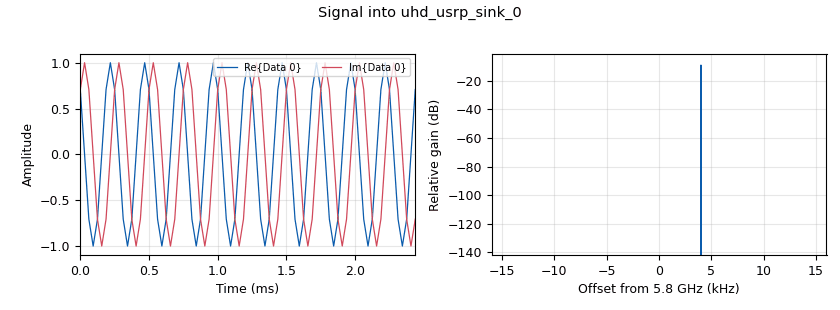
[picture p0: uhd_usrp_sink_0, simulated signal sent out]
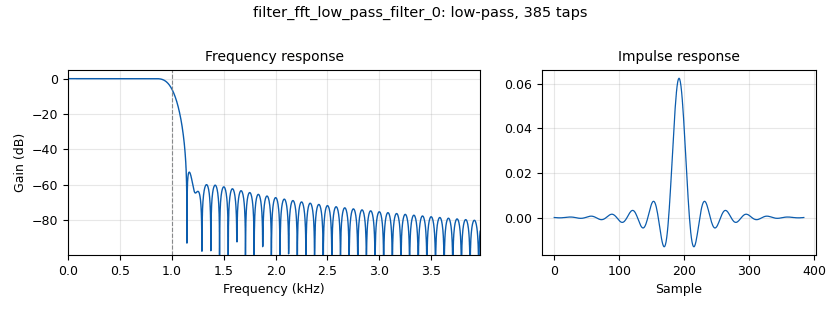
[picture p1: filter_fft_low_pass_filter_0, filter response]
options:
  parameters:
    author: '12034'
    generate_options: qt_gui
    id: CW_LF_IQ
    output_language: python
    title: Not titled yet
  states: {}

blocks:
- name: samp_rate
  id: variable
  parameters:
    value: '32000'
  states: {}
- name: samp_rate_0
  id: variable
  parameters:
    value: '44100'
  states: {}
- name: analog_sig_source_x_0
  id: analog_sig_source_x
  parameters:
    amp: '1'
    freq: '4000'
    offset: '0'
    phase: '0'
    samp_rate: samp_rate
    type: complex
    waveform: analog.GR_COS_WAVE
  states: {}
- name: blocks_complex_to_float_0
  id: blocks_complex_to_float
  parameters: {}
  states: {}
- name: blocks_multiply_conjugate_cc_0
  id: blocks_multiply_conjugate_cc
  parameters: {}
  states: {}
- name: blocks_wavfile_sink_0
  id: blocks_wavfile_sink
  parameters:
    bits_per_sample1: FORMAT_PCM_16
    file: C:\ek2370\CW_IF.wav
    format: FORMAT_WAV
    samp_rate: '44100'
  states: {}
- name: blocks_wavfile_sink_1
  id: blocks_wavfile_sink
  parameters:
    bits_per_sample1: FORMAT_PCM_16
    file: C:\ek2370\CW_IF.wav
    format: FORMAT_WAV
    samp_rate: '44100'
  states: {}
- name: dc_blocker_xx_0
  id: dc_blocker_xx
  parameters:
    length: '32'
    long_form: 'True'
    type: cc
  states: {}
- name: filter_fft_low_pass_filter_0
  id: filter_fft_low_pass_filter
  parameters:
    cutoff_freq: '1000'
    decim: '1'
    gain: '1'
    samp_rate: samp_rate
    type: ccc
    width: '200'
    win: window.WIN_HAMMING
  states: {}
- name: qtgui_sink_x_0_0
  id: qtgui_sink_x
  parameters:
    bw: samp_rate
    fc: '0'
    fftsize: '1024'
    showrf: 'True'
    type: complex
  states: {}
- name: qtgui_waterfall_sink_x_0
  id: qtgui_waterfall_sink_x
  parameters:
    bw: samp_rate
    fc: '0'
    fftsize: '1024'
    type: float
  states: {}
- name: qtgui_waterfall_sink_x_1
  id: qtgui_waterfall_sink_x
  parameters:
    bw: samp_rate
    fc: '0'
    fftsize: '1024'
    type: float
  states: {}
- name: uhd_usrp_sink_0
  id: uhd_usrp_sink
  parameters:
    ant0: '"TX/RX"'
    center_freq0: '5800000000'
    gain0: '40'
    samp_rate: samp_rate
    sync: sync
    type: fc32
  states: {}
- name: uhd_usrp_source_0
  id: uhd_usrp_source
  parameters:
    ant0: '"RX2"'
    center_freq0: '5800000000'
    gain0: '40'
    samp_rate: samp_rate
    sync: sync
    type: fc32
  states: {}

connections:
- [analog_sig_source_x_0, '0', blocks_multiply_conjugate_cc_0, '1']
- [analog_sig_source_x_0, '0', uhd_usrp_sink_0, '0']
- [blocks_complex_to_float_0, '0', blocks_wavfile_sink_0, '0']
- [blocks_complex_to_float_0, '0', qtgui_waterfall_sink_x_1, '0']
- [blocks_complex_to_float_0, '1', blocks_wavfile_sink_1, '0']
- [blocks_complex_to_float_0, '1', qtgui_waterfall_sink_x_0, '0']
- [blocks_multiply_conjugate_cc_0, '0', dc_blocker_xx_0, '0']
- [dc_blocker_xx_0, '0', filter_fft_low_pass_filter_0, '0']
- [filter_fft_low_pass_filter_0, '0', blocks_complex_to_float_0, '0']
- [filter_fft_low_pass_filter_0, '0', qtgui_sink_x_0_0, '0']
- [uhd_usrp_source_0, '0', blocks_multiply_conjugate_cc_0, '0']

metadata:
  file_format: 1
  grc_version: 3.10.10.0
